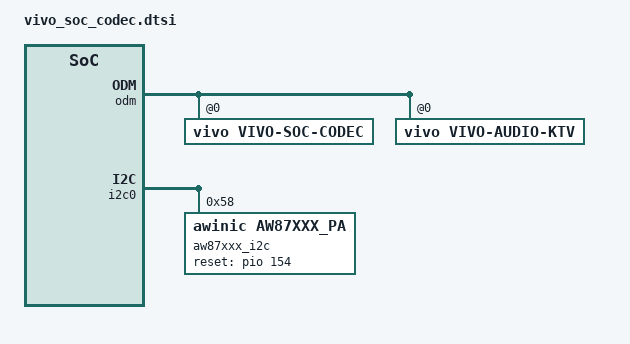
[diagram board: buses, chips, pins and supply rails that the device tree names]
/* Copyright (c) 2014-2015, The Linux Foundation. All rights reserved.
 *
 * This program is free software; you can redistribute it and/or modify
 * it under the terms of the GNU General Public License version 2 and
 * only version 2 as published by the Free Software Foundation.
 *
 * This program is distributed in the hope that it will be useful,
 * but WITHOUT ANY WARRANTY; without even the implied warranty of
 * MERCHANTABILITY or FITNESS FOR A PARTICULAR PURPOSE.  See the
 * GNU General Public License for more details.
 */
 

&odm {
	vivo-soc-codec@0 {
			compatible = "vivo,vivo-soc-codec";
			status = "okay";
	};

	vivo-audio-ktv@0 {
		compatible = "vivo,vivo-audio-ktv";
		status = "okay";
	};
};
&i2c0{

		aw87xxx_i2c@58 {
			compatible = "awinic,aw87xxx_pa";
			reg = <0x58>;
			reset-gpio = <&pio 154 0>;
			status = "okay";
		};
};
